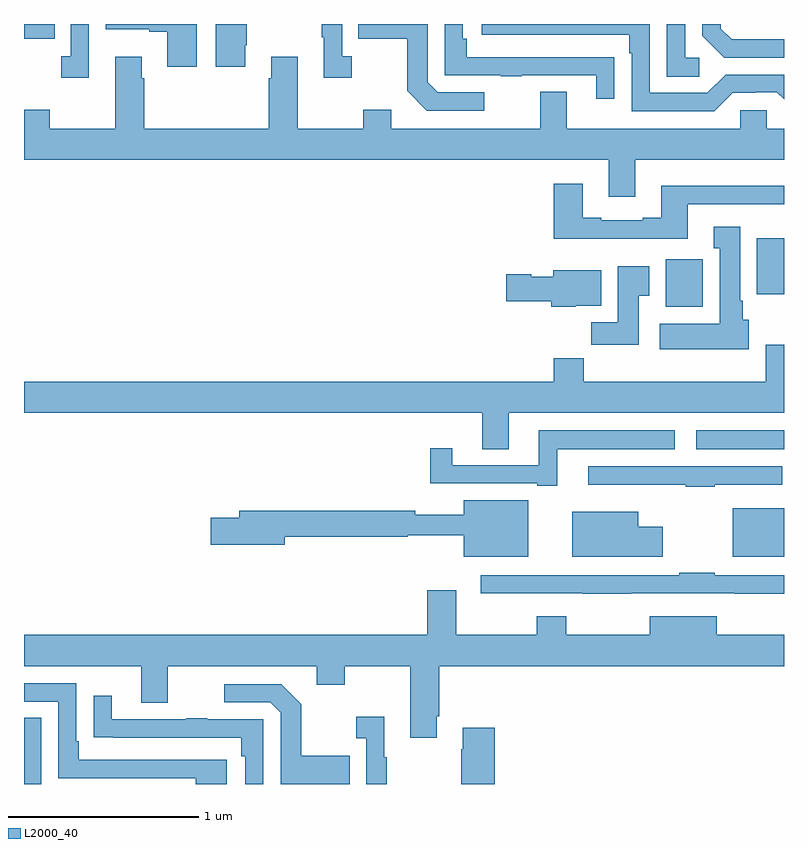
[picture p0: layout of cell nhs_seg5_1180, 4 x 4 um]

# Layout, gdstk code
import gdstk
lib = gdstk.Library(unit=1e-6, precision=1e-09)
def R(c, l, rs):  # rectangles x0, y0, x1, y1
    for r in rs: c.add(gdstk.rectangle(r[:2], r[2:], *l))
def P(c, l, *ps):  # polygons
    for p in ps: c.add(gdstk.Polygon(p, *l))
L2000_40 = (2000, 40)

nhs_seg5_1180 = lib.new_cell('nhs_seg5_1180')
R(nhs_seg5_1180, L2000_40, [(183,862.799,183.09,863.147), (186.731,863.996,187,864.25), (186.537,864.56,187,864.661), (186.377,865.31,186.573,865.561), (186.857,865.376,187,865.672), (183,866.722,183.161,866.799)])
P(nhs_seg5_1180, L2000_40, [(183.91,866.799),(183.429,866.799),(183.429,866.771),(183.659,866.771),(183.659,866.759),(183.755,866.759),(183.755,866.574),(183.91,866.574)],
  [(184.726,866.63),(184.674,866.63),(184.674,866.799),(184.566,866.799),(184.566,866.729),(184.577,866.729),(184.577,866.517),(184.726,866.517)],
  [(186.729,866.436),(186.848,866.436),(186.848,866.439),(186.963,866.439),(187,866.402),(187,866.532),(186.693,866.532),(186.597,866.436),(186.294,866.436),(186.294,866.799),(185.409,866.799),(185.409,866.742),(186.185,866.742),(186.185,866.645),(186.198,866.645),(186.198,866.34),(186.633,866.34)],
  [(186.107,866.624),(186.005,866.624),(186.005,866.625),(185.33,866.625),(185.33,866.722),(185.31,866.722),(185.31,866.799),(185.214,866.799),(185.214,866.529),(185.509,866.529),(185.509,866.524),(185.621,866.524),(185.621,866.529),(186.011,866.529),(186.011,866.406),(186.107,866.406)],
  [(186.553,866.622),(186.48,866.622),(186.48,866.799),(186.384,866.799),(186.384,866.521),(186.553,866.521)],
  [(187,866.718),(186.724,866.718),(186.667,866.775),(186.667,866.799),(186.57,866.799),(186.57,866.738),(186.686,866.622),(187,866.622)],
  [(185.422,866.439),(185.178,866.439),(185.124,866.493),(185.124,866.799),(184.759,866.799),(184.759,866.722),(185.016,866.722),(185.016,866.449),(185.121,866.343),(185.422,866.343)],
  [(184.165,866.686),(184.173,866.686),(184.173,866.799),(184.01,866.799),(184.01,866.574),(184.165,866.574)],
  [(183.342,866.799),(183.246,866.799),(183.246,866.63),(183.195,866.63),(183.195,866.517),(183.342,866.517)],
  [(186.217,866.084),(187,866.084),(187,866.248),(186.909,866.248),(186.909,866.346),(186.771,866.346),(186.771,866.248),(185.857,866.248),(185.857,866.443),(185.717,866.443),(185.717,866.248),(184.933,866.248),(184.933,866.347),(184.786,866.347),(184.786,866.248),(184.441,866.248),(184.441,866.626),(184.301,866.626),(184.301,866.513),(184.289,866.513),(184.289,866.248),(183.632,866.248),(183.632,866.513),(183.619,866.513),(183.619,866.626),(183.479,866.626),(183.479,866.248),(183.135,866.248),(183.135,866.347),(183,866.347),(183,866.084),(186.077,866.084),(186.077,865.89),(186.217,865.89)],
  [(186.493,865.851),(187,865.851),(187,865.948),(186.353,865.948),(186.353,865.78),(186.257,865.78),(186.257,865.767),(186.037,865.767),(186.037,865.78),(185.941,865.78),(185.941,865.957),(185.789,865.957),(185.789,865.67),(186.493,865.67)],
  [(186.814,865.242),(186.784,865.242),(186.784,865.342),(186.769,865.342),(186.769,865.732),(186.629,865.732),(186.629,865.619),(186.662,865.619),(186.662,865.222),(186.345,865.222),(186.345,865.088),(186.814,865.088)],
  [(186.235,865.369),(186.292,865.369),(186.292,865.525),(186.125,865.525),(186.125,865.228),(185.986,865.228),(185.986,865.11),(186.235,865.11)],
  [(185.904,865.316),(186.037,865.316),(186.037,865.504),(185.786,865.504),(185.786,865.468),(185.67,865.468),(185.67,865.481),(185.538,865.481),(185.538,865.339),(185.774,865.339),(185.774,865.31),(185.904,865.31)],
  [(185.551,864.752),(187,864.752),(187,865.111),(186.905,865.111),(186.905,864.916),(185.945,864.916),(185.945,865.04),(185.789,865.04),(185.789,864.916),(183,864.916),(183,864.752),(185.411,864.752),(185.411,864.562),(185.551,864.562)],
  [(185.806,864.56),(186.424,864.56),(186.424,864.661),(185.708,864.661),(185.708,864.477),(185.254,864.477),(185.254,864.565),(185.137,864.565),(185.137,864.381),(185.702,864.381),(185.702,864.369),(185.806,864.369)],
  [(186.635,864.375),(186.991,864.375),(186.991,864.471),(185.97,864.471),(185.97,864.374),(186.328,864.374),(186.328,864.373),(186.482,864.373),(186.482,864.363),(186.635,864.363)],
  [(185.653,864.292),(185.315,864.292),(185.315,864.217),(185.06,864.217),(185.06,864.236),(184.133,864.236),(184.133,864.2),(183.984,864.2),(183.984,864.058),(184.372,864.058),(184.372,864.1),(185.019,864.1),(185.019,864.108),(185.315,864.108),(185.315,863.996),(185.653,863.996)],
  [(186.361,864.154),(186.232,864.154),(186.232,864.232),(185.885,864.232),(185.885,863.996),(186.361,863.996)],
  [(186.197,863.802),(186.742,863.802),(186.742,863.801),(187,863.801),(187,863.898),(186.635,863.898),(186.635,863.911),(186.448,863.911),(186.448,863.898),(185.403,863.898),(185.403,863.802),(185.941,863.802),(185.941,863.801),(186.197,863.801)],
  [(185.173,863.155),(185.186,863.155),(185.186,863.42),(187,863.42),(187,863.584),(186.646,863.584),(186.646,863.683),(186.293,863.683),(186.293,863.584),(185.853,863.584),(185.853,863.683),(185.698,863.683),(185.698,863.584),(185.275,863.584),(185.275,863.818),(185.123,863.818),(185.123,863.584),(183,863.584),(183,863.42),(183.617,863.42),(183.617,863.226),(183.757,863.226),(183.757,863.42),(184.541,863.42),(184.541,863.321),(184.689,863.321),(184.689,863.42),(185.033,863.42),(185.033,863.043),(185.173,863.043)],
  [(184.066,862.926),(183.289,862.926),(183.289,863.023),(183.276,863.023),(183.276,863.328),(183,863.328),(183,863.232),(183.18,863.232),(183.18,862.83),(183.905,862.83),(183.905,862.799),(184.066,862.799)],
  [(184.715,862.947),(184.459,862.947),(184.459,863.219),(184.353,863.325),(184.053,863.325),(184.053,863.229),(184.296,863.229),(184.35,863.175),(184.35,862.799),(184.715,862.799)],
  [(184.26,863.139),(183.965,863.139),(183.965,863.144),(183.853,863.144),(183.853,863.139),(183.463,863.139),(183.463,863.263),(183.367,863.263),(183.367,863.044),(183.469,863.044),(183.469,863.043),(184.144,863.043),(184.144,862.946),(184.164,862.946),(184.164,862.799),(184.26,862.799)],
  [(184.909,862.939),(184.897,862.939),(184.897,863.152),(184.749,863.152),(184.749,863.039),(184.8,863.039),(184.8,862.799),(184.909,862.799)],
  [(185.477,863.095),(185.309,863.095),(185.309,862.982),(185.302,862.982),(185.302,862.799),(185.477,862.799)])

lib.write_gds('nhs_seg5_1180.gds')
